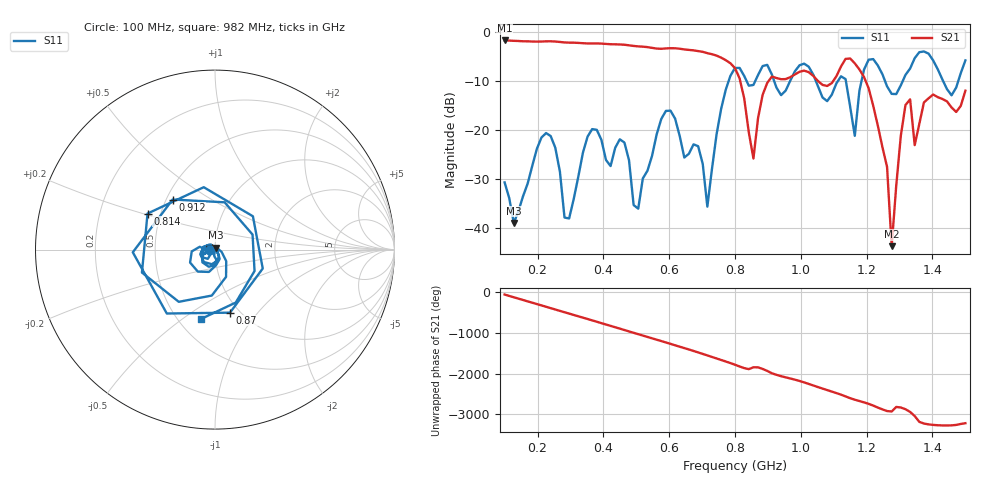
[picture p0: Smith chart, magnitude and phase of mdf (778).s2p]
! NanoVNA-App
! Date: 2025-09-25 15:44:28
! Start: 100MHz Stop: 1,5GHz Points: 101
! S-Parameter data: F S11 S21 S12 S22
# Hz S RI R 50
!  Frequency  S11_Real  S11_Imag  S21_Real  S21_Imag  S12_Real  S12_Imag  S22_Real  S22_Imag
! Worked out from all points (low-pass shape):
!   101 points, 100 MHz to 1.5 GHz, reference 50 ohm
!   highest |S21| = -1.80 dB at 100 MHz (marker M1); lowest = -43.7 dB at 1.276 GHz (marker M2)
!   |S21| within 3 dB of the highest: start of sweep to 739.6 MHz
!   lowest |S11| = -39.0 dB at 128 MHz (marker M3), VSWR 1.02, Z = 50.3 + j1.08 ohm
!   |S11| at or under -10 dB: start of sweep to 781.1 MHz; 1.045 GHz to 1.113 GHz (68.17 MHz wide, 6.32 % of centre); 1.255 GHz to 1.31 GHz (54.72 MHz wide, 4.27 % of centre) (the widest 3 of 7)
!   S12 and S22 are empty: the file has one direction only
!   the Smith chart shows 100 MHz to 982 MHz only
!   S11 on the Smith chart (normalised r, x): 100 MHz: 0.94, -0.01; 814 MHz: 0.42, +0.21; 870 MHz: 0.90, -0.73; 912 MHz: 0.54, +0.35; 982 MHz: 0.64, -0.59
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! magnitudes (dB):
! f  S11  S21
! 100 MHz  -30.7  -1.8
! 128 MHz  -39.0  -1.9
! 212 MHz  -21.6  -2.0
! 282 MHz  -37.9  -2.2
! 338 MHz  -24.7  -2.4
! 464 MHz  -22.6  -2.7
! 506 MHz  -36.1  -3.0
! 576 MHz  -17.8  -3.5
! 716 MHz  -35.7  -4.4
! 800 MHz  -7.4  -7.4
! 814 MHz  -7.4  -9.5
! 856 MHz  -10.9  -25.9
! 870 MHz  -8.8  -17.6
! 912 MHz  -8.7  -9.2
! 982 MHz  -8.1  -8.7
! 1.038 GHz  -8.8  -9.0
! 1.164 GHz  -21.2  -6.5
! 1.192 GHz  -7.7  -9.3
! 1.262 GHz  -11.2  -27.6
! 1.276 GHz  -12.7  -43.7
! 1.318 GHz  -8.8  -15.0
! 1.5 GHz  -5.9  -12.0
